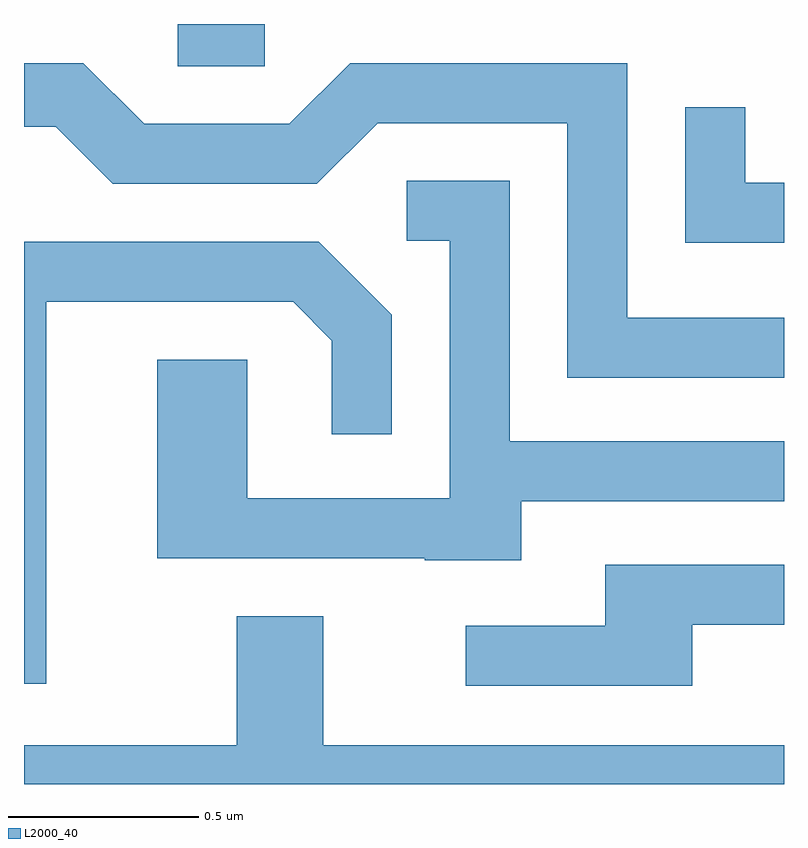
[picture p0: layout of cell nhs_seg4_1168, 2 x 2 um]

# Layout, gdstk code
import gdstk
lib = gdstk.Library(unit=1e-6, precision=1e-09)
def R(c, l, rs):  # rectangles x0, y0, x1, y1
    for r in rs: c.add(gdstk.rectangle(r[:2], r[2:], *l))
def P(c, l, *ps):  # polygons
    for p in ps: c.add(gdstk.Polygon(p, *l))
L2000_40 = (2000, 40)

nhs_seg4_1168 = lib.new_cell('nhs_seg4_1168')
R(nhs_seg4_1168, L2000_40, [(194.016,1327.871,194.244,1327.982)])
P(nhs_seg4_1168, L2000_40, [(195.611,1327.209),(195.199,1327.209),(195.199,1327.879),(194.469,1327.879),(194.309,1327.719),(193.927,1327.719),(193.767,1327.879),(193.611,1327.879),(193.611,1327.711),(193.694,1327.711),(193.844,1327.561),(194.382,1327.561),(194.542,1327.721),(195.041,1327.721),(195.041,1327.051),(195.611,1327.051)],
  [(195.611,1327.564),(195.509,1327.564),(195.509,1327.763),(195.351,1327.763),(195.351,1327.406),(195.611,1327.406)],
  [(194.919,1326.726),(195.611,1326.726),(195.611,1326.884),(194.889,1326.884),(194.889,1327.569),(194.618,1327.569),(194.618,1327.411),(194.731,1327.411),(194.731,1326.734),(194.199,1326.734),(194.199,1327.099),(193.961,1327.099),(193.961,1326.576),(194.665,1326.576),(194.665,1326.571),(194.919,1326.571)],
  [(193.669,1327.251),(194.319,1327.251),(194.421,1327.149),(194.421,1326.903),(194.579,1326.903),(194.579,1327.217),(194.387,1327.409),(193.611,1327.409),(193.611,1326.246),(193.669,1326.246)],
  [(195.369,1326.401),(195.611,1326.401),(195.611,1326.559),(195.141,1326.559),(195.141,1326.399),(194.773,1326.399),(194.773,1326.241),(195.369,1326.241)],
  [(195.611,1326.084),(194.399,1326.084),(194.399,1326.424),(194.171,1326.424),(194.171,1326.084),(193.611,1326.084),(193.611,1325.982),(195.611,1325.982)])

lib.write_gds('nhs_seg4_1168.gds')
